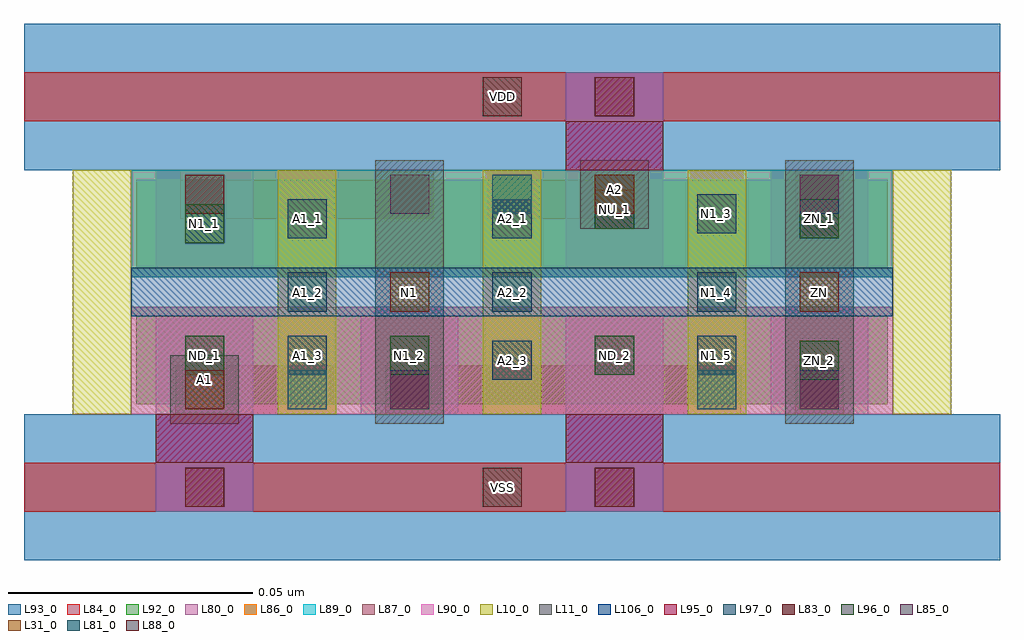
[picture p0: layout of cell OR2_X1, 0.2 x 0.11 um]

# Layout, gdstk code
import gdstk
lib = gdstk.Library(unit=1e-6, precision=1e-09)
def R(c, l, rs):  # rectangles x0, y0, x1, y1
    for r in rs: c.add(gdstk.rectangle(r[:2], r[2:], *l))
def A(c, l, x, y, w, h, nx, ny, dx, dy):  # array of equal rectangles
    R(c, l, [(x+i*dx, y+j*dy, x+i*dx+w, y+j*dy+h) for i in range(nx) for j in range(ny)])
L10_0 = (10, 0)
L11_0 = (11, 0)
L31_0 = (31, 0)
L80_0 = (80, 0)
L81_0 = (81, 0)
L83_0 = (83, 0)
L84_0 = (84, 0)
L85_0 = (85, 0)
L86_0 = (86, 0)
L87_0 = (87, 0)
L88_0 = (88, 0)
L89_0 = (89, 0)
L90_0 = (90, 0)
L92_0 = (92, 0)
L93_0 = (93, 0)
L95_0 = (95, 0)
L96_0 = (96, 0)
L97_0 = (97, 0)
L106_0 = (106, 0)

or2_x1 = lib.new_cell('OR2_X1')
A(or2_x1, L10_0, -0.027, 0.015, 0.012, 0.05, 5, 1, 0.042, 0)
R(or2_x1, L11_0, [(-0.007,0.013,0.007,0.027), (0.035,0.013,0.049,0.047), (0.119,0.013,0.133,0.047), (0.035,0.033,0.049,0.067), (0.119,0.033,0.133,0.067), (0.077,0.053,0.091,0.067)])
R(or2_x1, L31_0, [(-0.004,0.016,0.004,0.024), (0.038,0.036,0.046,0.044), (0.122,0.036,0.13,0.044), (0.08,0.056,0.088,0.064)])
A(or2_x1, L80_0, -0.01, 0.015, 0.02, 0.02, 4, 1, 0.042, 0)
R(or2_x1, L80_0, [(-0.01,-0.005,0.01,0.016), (0.074,-0.005,0.094,0.016), (-0.01,0.045,0.01,0.065), (-0.01,0.045,0.01,0.065), (0.074,0.045,0.094,0.065), (0.074,0.045,0.094,0.065), (0.116,0.045,0.136,0.065), (0.116,0.045,0.136,0.065), (0.074,0.056,0.094,0.085)])
R(or2_x1, L81_0, [(0.017,0.016,0.025,0.024), (0.101,0.016,0.109,0.024), (0.059,0.056,0.067,0.064)])
R(or2_x1, L83_0, [(-0.004,-0.004,0.004,0.004), (0.08,-0.004,0.088,0.004), (0.038,0.016,0.046,0.024), (0.122,0.016,0.13,0.024), (-0.004,0.056,0.004,0.064), (-0.004,0.056,0.004,0.064), (0.122,0.056,0.13,0.064), (0.08,0.076,0.088,0.084)])
A(or2_x1, L84_0, 0.037, 0.015, 0.031, 0.01, 3, 1, 0.021, 0)
R(or2_x1, L84_0, [(-0.037,-0.005,0.163,0.005), (-0.006,0.015,0.027,0.025), (0.121,0.015,0.131,0.025), (-0.005,0.055,0.026,0.065), (0.016,0.055,0.047,0.065), (0.058,0.055,0.091,0.065), (0.121,0.055,0.131,0.065), (-0.037,0.075,0.163,0.085)])
A(or2_x1, L85_0, 0.038, 0.056, 0.008, 0.008, 3, 1, 0.042, 0)
R(or2_x1, L85_0, [(-0.004,0.016,0.004,0.024), (0.038,0.016,0.046,0.024), (0.122,0.016,0.13,0.024)])
R(or2_x1, L86_0, [(-0.015,0.043,0.141,0.065)])
R(or2_x1, L87_0, [(-0.015,0.015,0.141,0.037)])
R(or2_x1, L88_0, [(0.057,-0.004,0.065,0.004), (0.057,0.076,0.065,0.084)])
R(or2_x1, L89_0, [(-0.015,0.043,0.141,0.065)])
R(or2_x1, L90_0, [(-0.015,0.015,0.141,0.037)])
R(or2_x1, L92_0, [(-0.014,0.017,0.14,0.035), (-0.014,0.045,0.14,0.063)])
R(or2_x1, L93_0, [(-0.037,-0.015,0.163,0.015), (-0.037,0.065,0.163,0.095)])
R(or2_x1, L95_0, [(-0.01,0.005,0.01,0.015), (0.074,0.005,0.094,0.015), (0.074,0.065,0.094,0.075)])
A(or2_x1, L96_0, -0.004, 0.023, 0.008, 0.008, 3, 1, 0.042, 0)
R(or2_x1, L96_0, [(0.122,0.022,0.13,0.03), (-0.004,0.05,0.004,0.058), (0.122,0.051,0.13,0.059), (0.08,0.053,0.088,0.061)])
A(or2_x1, L97_0, 0.017, 0.036, 0.008, 0.008, 3, 1, 0.042, 0)
R(or2_x1, L97_0, [(0.059,0.022,0.067,0.03), (0.017,0.023,0.025,0.031), (0.101,0.023,0.109,0.031), (0.017,0.051,0.025,0.059), (0.059,0.051,0.067,0.059), (0.101,0.052,0.109,0.06)])
R(or2_x1, L106_0, [(-0.015,0.035,0.141,0.045)])
or2_x1.add(gdstk.Label('VSS', (0.061,0), layer=88, texttype=0))
or2_x1.add(gdstk.Label('VDD', (0.061,0.08), layer=88, texttype=0))
or2_x1.add(gdstk.Label('ZN_2', (0.126,0.026), layer=96, texttype=0))
or2_x1.add(gdstk.Label('ZN_1', (0.126,0.055), layer=96, texttype=0))
or2_x1.add(gdstk.Label('N1_2', (0.042,0.027), layer=96, texttype=0))
or2_x1.add(gdstk.Label('N1_1', (0,0.054), layer=96, texttype=0))
or2_x1.add(gdstk.Label('ND_2', (0.084,0.027), layer=96, texttype=0))
or2_x1.add(gdstk.Label('ND_1', (0,0.027), layer=96, texttype=0))
or2_x1.add(gdstk.Label('NU_1', (0.084,0.057), layer=96, texttype=0))
or2_x1.add(gdstk.Label('ZN', (0.126,0.04), layer=31, texttype=0))
or2_x1.add(gdstk.Label('A2', (0.084,0.061), layer=31, texttype=0))
or2_x1.add(gdstk.Label('A1', (0,0.022), layer=31, texttype=0))
or2_x1.add(gdstk.Label('N1', (0.042,0.04), layer=31, texttype=0))
or2_x1.add(gdstk.Label('A2_3', (0.063,0.026), layer=97, texttype=0))
or2_x1.add(gdstk.Label('A2_2', (0.063,0.04), layer=97, texttype=0))
or2_x1.add(gdstk.Label('A2_1', (0.063,0.055), layer=97, texttype=0))
or2_x1.add(gdstk.Label('A1_3', (0.021,0.027), layer=97, texttype=0))
or2_x1.add(gdstk.Label('A1_2', (0.021,0.04), layer=97, texttype=0))
or2_x1.add(gdstk.Label('A1_1', (0.021,0.055), layer=97, texttype=0))
or2_x1.add(gdstk.Label('N1_5', (0.105,0.027), layer=97, texttype=0))
or2_x1.add(gdstk.Label('N1_4', (0.105,0.04), layer=97, texttype=0))
or2_x1.add(gdstk.Label('N1_3', (0.105,0.056), layer=97, texttype=0))

lib.write_gds('OR2_X1.gds')
